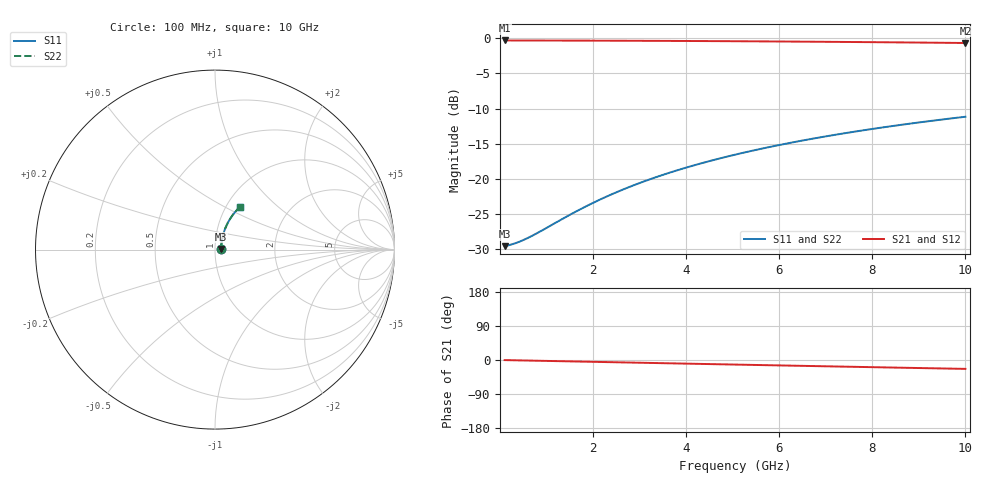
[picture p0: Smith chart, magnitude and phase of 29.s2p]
# Hz S RI R 50.00
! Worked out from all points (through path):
!   100 points, 100 MHz to 10 GHz, reference 50 ohm
!   highest |S21| = -0.29 dB at 100 MHz (marker M1); lowest = -0.7 dB at 10 GHz (marker M2)
!   group delay of S21, straight-line fit = 6.52 ps
!   lowest |S11| = -29.6 dB at 100 MHz (marker M3), VSWR 1.07, Z = 53.4 + j0.295 ohm
!   |S11| at or under -10 dB: start of sweep to end of sweep
!   |S22| runs from -29.6 to -11.2 dB; largest |S21 - S12| = 0
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1e8  0.0329 0.00276  0.9671 -0.00406  0.9671 -0.00406  0.0329 0.00276
2e8  0.0331 0.00552  0.9669 -0.00812  0.9669 -0.00812  0.0331 0.00552
3e8  0.0333 0.00828  0.9666 -0.0122  0.9666 -0.0122  0.0333 0.00828
4e8  0.0335 0.011  0.9664 -0.0162  0.9664 -0.0162  0.0335 0.011
6e8  0.034 0.0165  0.966 -0.0243  0.966 -0.0243  0.034 0.0165
8e8  0.0345 0.022  0.9655 -0.0324  0.9655 -0.0324  0.0345 0.022
1.4e9  0.0363 0.0385  0.9635 -0.0567  0.9635 -0.0567  0.0363 0.0385
1.8e9  0.038 0.0493  0.9617 -0.0727  0.9617 -0.0727  0.038 0.0493
2.2e9  0.04 0.0601  0.9596 -0.0887  0.9596 -0.0887  0.04 0.0601
2.6e9  0.0423 0.0708  0.9571 -0.1047  0.9571 -0.1047  0.0423 0.0708
3e9  0.045 0.0814  0.9542 -0.1205  0.9542 -0.1205  0.045 0.0814
3.4e9  0.048 0.0919  0.951 -0.1362  0.951 -0.1362  0.048 0.0919
3.8e9  0.0513 0.1023  0.9474 -0.1518  0.9474 -0.1518  0.0513 0.1023
4.2e9  0.055 0.1125  0.9434 -0.1672  0.9434 -0.1672  0.055 0.1125
4.6e9  0.059 0.1226  0.9391 -0.1825  0.9391 -0.1825  0.059 0.1226
5.1e9  0.0645 0.135  0.9332 -0.2014  0.9332 -0.2014  0.0645 0.135
5.9e9  0.0741 0.1541  0.9228 -0.231  0.9228 -0.231  0.0741 0.1541
6.7e9  0.085 0.1725  0.9111 -0.2598  0.9111 -0.2598  0.085 0.1725
7.5e9  0.0969 0.19  0.8982 -0.2878  0.8982 -0.2878  0.0969 0.19
8.4e9  0.1115 0.2085  0.8823 -0.3181  0.8823 -0.3181  0.1115 0.2085
9.2e9  0.1254 0.2239  0.8672 -0.3441  0.8672 -0.3441  0.1254 0.2239
1e10  0.1401 0.2382  0.8511 -0.369  0.8511 -0.369  0.1401 0.2382
